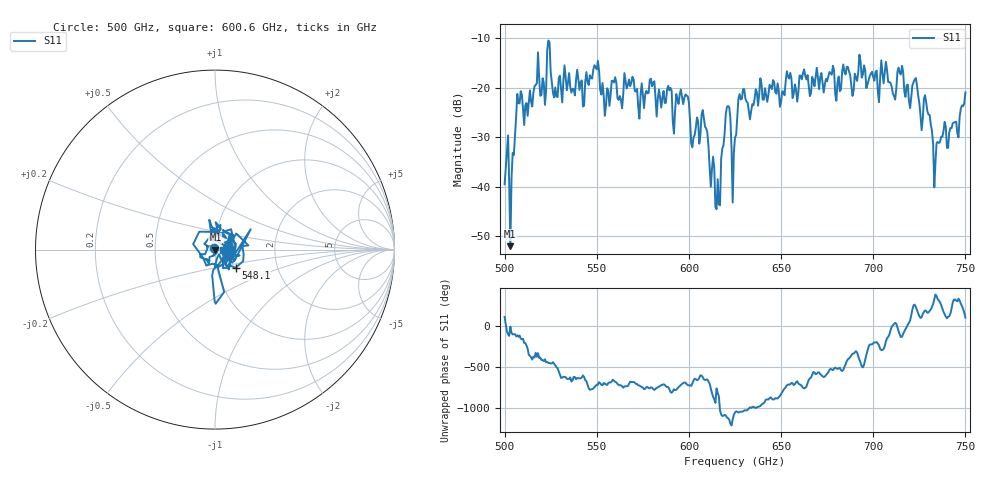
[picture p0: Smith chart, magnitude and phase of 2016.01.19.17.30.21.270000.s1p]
!Created with skrf (http://scikit-rf.org).
# GHz S RI R 50.0
!freq ReS11 ImS11
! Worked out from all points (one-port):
!   401 points, 500 GHz to 750 GHz, reference 50 ohm
!   lowest |S11| = -52.0 dB at 503.1 GHz (marker M1), VSWR 1.01, Z = 50.2 - j0.0383 ohm
!   |S11| at or under -10 dB: start of sweep to end of sweep
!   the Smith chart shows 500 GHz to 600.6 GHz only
!   S11 on the Smith chart (normalised r, x): 500 GHz: 0.99, +0.02; 548.1 GHz: 1.23, -0.25; 600.6 GHz: 1.10, -0.00
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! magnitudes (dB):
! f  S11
! 500 GHz  -39.5
! 503.1 GHz  -52.0
! 508.1 GHz  -23.1
! 521.2 GHz  -18.9
! 524.4 GHz  -10.8
! 527.5 GHz  -19.9
! 531.2 GHz  -22.9
! 548.1 GHz  -16.3
! 562.5 GHz  -21.7
! 568.8 GHz  -19.0
! 593.8 GHz  -22.2
! 598.8 GHz  -21.5
! 600.6 GHz  -26.6
! 608.1 GHz  -26.2
! 615.6 GHz  -38.4
! 620.6 GHz  -23.8
! 625 GHz  -30.1
! 628.8 GHz  -22.2
! 633.8 GHz  -24.7
! 656.2 GHz  -22.1
! 687.5 GHz  -17.4
! 705.6 GHz  -19.1
! 711.2 GHz  -21.6
! 715 GHz  -17.3
! 718.8 GHz  -19.3
! 728.8 GHz  -23.0
! 733.8 GHz  -35.2
! 750 GHz  -20.9
